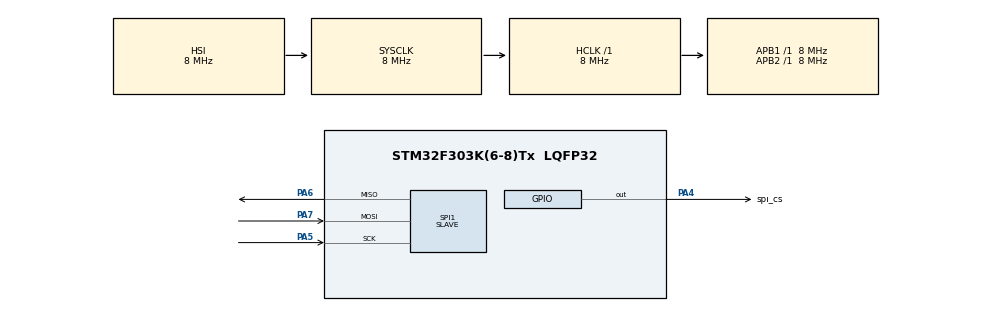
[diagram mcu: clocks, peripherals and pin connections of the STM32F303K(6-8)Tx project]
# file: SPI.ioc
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Mcu.Family=STM32F3
Mcu.Name=STM32F303K(6-8)Tx
Mcu.Package=LQFP32
NVIC.PriorityGroup=NVIC_PRIORITYGROUP_4
PA4.GPIO_Label=sp\u0131_cs
PA4.PinState=GPIO_PIN_SET
PA4.Signal=GPIO_Output
PA5.Mode=Full_Duplex_Slave
PA5.Signal=SPI1_SCK
PA6.Mode=Full_Duplex_Slave
PA6.Signal=SPI1_MISO
PA7.Mode=Full_Duplex_Slave
PA7.Signal=SPI1_MOSI
ProjectManager.HeapSize=0x200
ProjectManager.StackSize=0x400
ProjectManager.TargetToolchain=STM32CubeIDE
RCC.AHBFreq_Value=8000000
RCC.APB1Freq_Value=8000000
RCC.APB2Freq_Value=8000000
RCC.CortexFreq_Value=8000000
RCC.HSE_VALUE=8000000
RCC.HSI_VALUE=8000000
RCC.SYSCLKFreq_VALUE=8000000
SPI1.Direction=SPI_DIRECTION_2LINES
SPI1.Mode=SPI_MODE_SLAVE
SPI1.VirtualType=VM_SLAVE
board=custom

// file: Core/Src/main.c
/* USER CODE BEGIN Header */
/**
  ******************************************************************************
  * @file           : main.c
  * @brief          : Main program body
  ******************************************************************************
  * @attention
  *
  * Copyright (c) 2026 STMicroelectronics.
  * All rights reserved.
  *
  * This software is licensed under terms that can be found in the LICENSE file
  * in the root directory of this software component.
  * If no LICENSE file comes with this software, it is provided AS-IS.
  *
  ******************************************************************************
  */
/* USER CODE END Header */
#include "main.h"

SPI_HandleTypeDef hspi1;

/* USER CODE BEGIN PV */

uint16_t X_axis , Y_axis , Z_axis;
uint8_t X_axis_L , Y_axis_L , Z_axis_L,X_axis_H , Y_axis_H , Z_axis_H;

/* USER CODE END PV */

void SystemClock_Config(void);
static void MX_GPIO_Init(void);
static void MX_SPI1_Init(void);

/* USER CODE BEGIN 0 */
void SPI_Write_MEMS(uint8_t address , uint8_t data)

{

	uint8_t txdata[2] ={0};
	uint8_t txdata[0] =address;
	uint8_t txdata[1] =data;

	HAL_GPIO_WritePin(GPIOA, GPIO_PIN_4,GPIO_PIN_RESET);
	HAL_SPI_Transmit(&hspi1, txdata, 2, 1000);
	HAL_GPIO_WritePin(GPIOA, GPIO_PIN_4,GPIO_PIN_SET);

}

uint8_t SPI_Read_MEMS(uint8_t address)
{
	uint8_t txdata[1] ={0};
	uint8_t rxdata[1] = {0};
	//cs piniin lowa çek

	txdata[0] = address | 0x80;

	HAL_GPIO_WritePin(GPIOA, GPIO_PIN_4,GPIO_PIN_RESET);

	HAL_SPI_Transmit(&hspi1, txdata, 1, 1000);
	HAL_SPI_Receive(&hspi1, rxdata, 1, 1000);
	HAL_GPIO_WritePin(GPIOA, GPIO_PIN_4,GPIO_PIN_SET);

	return rxdata[0];
}

/* USER CODE END 0 */

int main(void)
{

  /* MCU Configuration--------------------------------------------------------*/

  /* Reset of all peripherals, Initializes the Flash interface and the Systick. */
  HAL_Init();

  /* Configure the system clock */
  SystemClock_Config();

  /* Initialize all configured peripherals */
  MX_GPIO_Init();
  MX_SPI1_Init();
  /* USER CODE BEGIN 2 */

  uint8_t whoamı = 0;

  whoamı = SPI_Read_MEMS(0x0F);

  uint8_t reg4 = 0;
  SPI_Write_MEMS(0x20, 0x57);
  reg4= SPI_Read_MEMS(0x20);

  /* USER CODE END 2 */

  /* Infinite loop */
  while (1)
  {

    /* USER CODE BEGIN 3 */

	  X_axis_L = SPI_Read_MEMS(0x28);
	  X_axis_H = SPI_Read_MEMS(0x29);
	  X_axis = (X_axis_H <<8) | X_axis_L;

	  Y_axis_L = SPI_Read_MEMS(0x2A);
	  Y_axis_H = SPI_Read_MEMS(0x2B);
	  Y_axis = (Y_axis_H <<8) | Y_axis_L;

	  Z_axis_L = SPI_Read_MEMS(0x2C);
	  Z_axis_H = SPI_Read_MEMS(0x2D);
	  Z_axis = (Z_axis_H <<8) | Z_axis_L;
  }
  /* USER CODE END 3 */
}

void SystemClock_Config(void)
{
  RCC_OscInitTypeDef RCC_OscInitStruct = {0};
  RCC_ClkInitTypeDef RCC_ClkInitStruct = {0};

  /** Initializes the RCC Oscillators according to the specified parameters
  * in the RCC_OscInitTypeDef structure.
  */
  RCC_OscInitStruct.OscillatorType = RCC_OSCILLATORTYPE_HSI;
  RCC_OscInitStruct.HSIState = RCC_HSI_ON;
  RCC_OscInitStruct.HSICalibrationValue = RCC_HSICALIBRATION_DEFAULT;
  RCC_OscInitStruct.PLL.PLLState = RCC_PLL_NONE;
  if (HAL_RCC_OscConfig(&RCC_OscInitStruct) != HAL_OK)
  {
    Error_Handler();
  }

  /** Initializes the CPU, AHB and APB buses clocks
  */
  RCC_ClkInitStruct.ClockType = RCC_CLOCKTYPE_HCLK|RCC_CLOCKTYPE_SYSCLK
                              |RCC_CLOCKTYPE_PCLK1|RCC_CLOCKTYPE_PCLK2;
  RCC_ClkInitStruct.SYSCLKSource = RCC_SYSCLKSOURCE_HSI;
  RCC_ClkInitStruct.AHBCLKDivider = RCC_SYSCLK_DIV1;
  RCC_ClkInitStruct.APB1CLKDivider = RCC_HCLK_DIV1;
  RCC_ClkInitStruct.APB2CLKDivider = RCC_HCLK_DIV1;

  if (HAL_RCC_ClockConfig(&RCC_ClkInitStruct, FLASH_LATENCY_0) != HAL_OK)
  {
    Error_Handler();
  }
}

static void MX_SPI1_Init(void)
{

  /* SPI1 parameter configuration*/
  hspi1.Instance = SPI1;
  hspi1.Init.Mode = SPI_MODE_SLAVE;
  hspi1.Init.Direction = SPI_DIRECTION_2LINES;
  hspi1.Init.DataSize = SPI_DATASIZE_4BIT;
  hspi1.Init.CLKPolarity = SPI_POLARITY_LOW;
  hspi1.Init.CLKPhase = SPI_PHASE_1EDGE;
  hspi1.Init.NSS = SPI_NSS_SOFT;
  hspi1.Init.FirstBit = SPI_FIRSTBIT_MSB;
  hspi1.Init.TIMode = SPI_TIMODE_DISABLE;
  hspi1.Init.CRCCalculation = SPI_CRCCALCULATION_DISABLE;
  hspi1.Init.CRCPolynomial = 7;
  hspi1.Init.CRCLength = SPI_CRC_LENGTH_DATASIZE;
  hspi1.Init.NSSPMode = SPI_NSS_PULSE_DISABLE;
  if (HAL_SPI_Init(&hspi1) != HAL_OK)
  {
    Error_Handler();
  }

}

static void MX_GPIO_Init(void)
{
  GPIO_InitTypeDef GPIO_InitStruct = {0};

  /* GPIO Ports Clock Enable */
  __HAL_RCC_GPIOA_CLK_ENABLE();

  /*Configure GPIO pin Output Level */
  HAL_GPIO_WritePin(sp__cs_GPIO_Port, sp__cs_Pin, GPIO_PIN_SET);

  /*Configure GPIO pin : sp__cs_Pin */
  GPIO_InitStruct.Pin = sp__cs_Pin;
  GPIO_InitStruct.Mode = GPIO_MODE_OUTPUT_PP;
  GPIO_InitStruct.Pull = GPIO_NOPULL;
  GPIO_InitStruct.Speed = GPIO_SPEED_FREQ_LOW;
  HAL_GPIO_Init(sp__cs_GPIO_Port, &GPIO_InitStruct);

}

void Error_Handler(void)
{
  __disable_irq();
  while (1)
  {
  }
}
